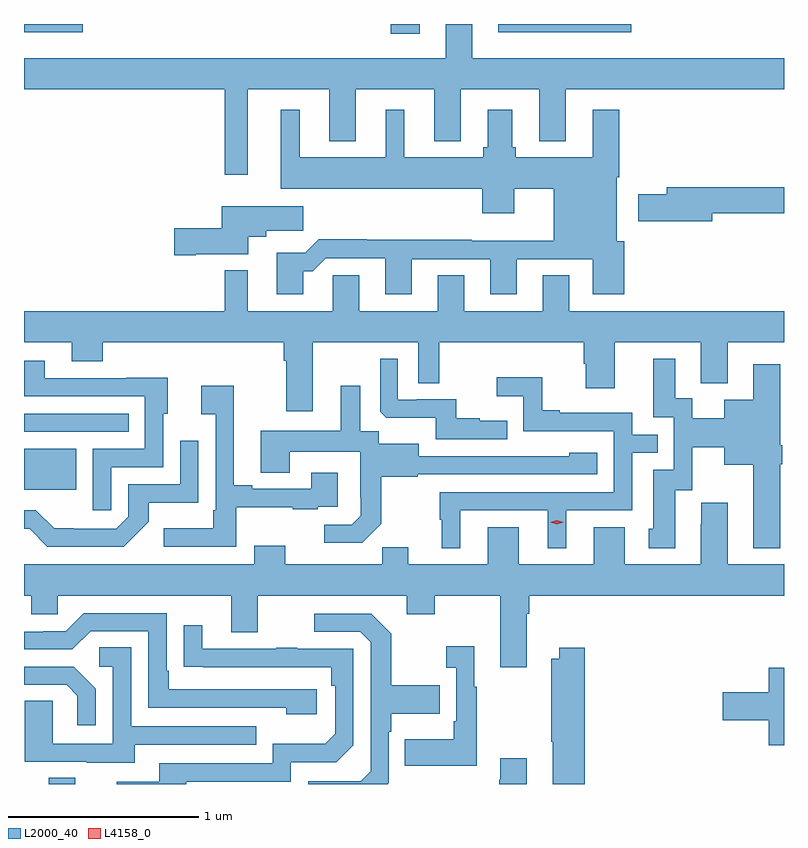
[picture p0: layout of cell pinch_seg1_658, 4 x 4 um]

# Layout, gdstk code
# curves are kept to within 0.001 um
import gdstk
lib = gdstk.Library(unit=1e-6, precision=1e-09)
def R(c, l, rs):  # rectangles x0, y0, x1, y1
    for r in rs: c.add(gdstk.rectangle(r[:2], r[2:], *l))
def P(c, l, *ps):  # polygons
    for p in ps: c.add(gdstk.Polygon(p, *l))
L2000_40 = (2000, 40)
L4158_0 = (4158, 0)

pinch_seg1_658 = lib.new_cell('pinch_seg1_658')
R(pinch_seg1_658, L2000_40, [(862.421,574.716,862.561,574.748), (862.29,576.266,862.564,576.481), (862.29,576.57,862.841,576.666), (864.221,578.664,864.373,578.716), (862.29,578.672,862.6,578.716), (864.785,578.672,865.486,578.716)])
P(pinch_seg1_658, L2000_40, [(863.467,578.372),(863.897,578.372),(863.897,578.099),(864.037,578.099),(864.037,578.372),(864.449,578.372),(864.449,578.099),(864.589,578.099),(864.589,578.372),(865.001,578.372),(865.001,578.099),(865.141,578.099),(865.141,578.372),(866.29,578.372),(866.29,578.536),(864.649,578.536),(864.649,578.716),(864.509,578.716),(864.509,578.536),(862.29,578.536),(862.29,578.372),(863.346,578.372),(863.346,577.923),(863.467,577.923)],
  [(863.761,577.415),(863.81,577.415),(863.877,577.482),(864.191,577.482),(864.191,577.293),(864.331,577.293),(864.331,577.479),(864.743,577.479),(864.743,577.293),(864.883,577.293),(864.883,577.479),(865.283,577.479),(865.283,577.293),(865.448,577.293),(865.448,577.572),(865.411,577.572),(865.411,577.91),(865.424,577.91),(865.424,578.266),(865.283,578.266),(865.283,578.014),(864.879,578.014),(864.879,578.067),(864.859,578.067),(864.859,578.266),(864.731,578.266),(864.731,578.067),(864.706,578.067),(864.706,578.014),(864.292,578.014),(864.292,578.266),(864.194,578.266),(864.194,578.014),(863.74,578.014),(863.74,578.266),(863.642,578.266),(863.642,577.85),(864.701,577.85),(864.701,577.719),(864.871,577.719),(864.871,577.85),(865.079,577.85),(865.079,577.576),(864.647,577.576),(864.647,577.58),(864.095,577.58),(864.095,577.583),(863.84,577.583),(863.77,577.513),(863.621,577.513),(863.621,577.293),(863.761,577.293)],
  [(865.912,577.72),(866.29,577.72),(866.29,577.856),(865.673,577.856),(865.673,577.82),(865.524,577.82),(865.524,577.678),(865.912,577.678)],
  [(863.194,577.505),(863.47,577.505),(863.47,577.595),(863.566,577.595),(863.566,577.627),(863.761,577.627),(863.761,577.756),(863.33,577.756),(863.33,577.64),(863.082,577.64),(863.082,577.498),(863.194,577.498)],
  [(862.29,577.04),(862.541,577.04),(862.541,576.941),(862.705,576.941),(862.705,577.04),(863.657,577.04),(863.657,576.944),(863.669,576.944),(863.669,576.678),(863.809,576.678),(863.809,577.04),(864.366,577.04),(864.366,576.826),(864.475,576.826),(864.475,577.04),(865.235,577.04),(865.235,576.927),(865.247,576.927),(865.247,576.798),(865.399,576.798),(865.399,577.04),(865.853,577.04),(865.853,576.824),(865.993,576.824),(865.993,577.04),(866.29,577.04),(866.29,577.204),(865.159,577.204),(865.159,577.394),(865.019,577.394),(865.019,577.204),(864.607,577.204),(864.607,577.394),(864.467,577.394),(864.467,577.204),(864.055,577.204),(864.055,577.394),(863.916,577.394),(863.916,577.204),(863.467,577.204),(863.467,577.42),(863.346,577.42),(863.346,577.204),(862.29,577.204)],
  [(866.269,576.399),(866.282,576.399),(866.282,576.499),(866.269,576.499),(866.269,576.925),(866.129,576.925),(866.129,576.739),(865.976,576.739),(865.976,576.64),(865.807,576.64),(865.807,576.746),(865.717,576.746),(865.717,576.955),(865.601,576.955),(865.601,576.645),(865.71,576.645),(865.71,576.369),(865.601,576.369),(865.601,576.06),(865.577,576.06),(865.577,575.958),(865.717,575.958),(865.717,576.261),(865.806,576.261),(865.806,576.488),(865.976,576.488),(865.976,576.395),(866.129,576.395),(866.129,575.957),(866.269,575.957)],
  [(864.833,576.628),(864.689,576.628),(864.689,576.64),(864.566,576.64),(864.566,576.741),(864.358,576.741),(864.358,576.738),(864.258,576.738),(864.258,576.955),(864.165,576.955),(864.165,576.675),(864.197,576.644),(864.456,576.644),(864.456,576.531),(864.833,576.531)],
  [(862.749,576.384),(863.022,576.384),(863.022,576.666),(863.047,576.666),(863.047,576.854),(862.829,576.854),(862.829,576.852),(862.399,576.852),(862.399,576.943),(862.29,576.943),(862.29,576.756),(862.926,576.756),(862.926,576.48),(862.653,576.48),(862.653,576.156),(862.749,576.156)],
  [(864.586,576.156),(865.046,576.156),(865.046,575.957),(865.144,575.957),(865.144,576.156),(865.491,576.156),(865.491,576.459),(865.625,576.459),(865.625,576.555),(865.491,576.555),(865.491,576.669),(865.111,576.669),(865.111,576.682),(865.017,576.682),(865.017,576.857),(864.777,576.857),(864.777,576.758),(864.918,576.758),(864.918,576.573),(865.395,576.573),(865.395,576.252),(864.477,576.252),(864.477,576.108),(864.488,576.108),(864.488,575.957),(864.586,575.957)],
  [(864.171,576.087),(864.171,576.333),(864.363,576.333),(864.363,576.345),(865.306,576.345),(865.306,576.46),(865.161,576.46),(865.161,576.442),(864.367,576.441),(864.367,576.508),(864.156,576.508),(864.156,576.572),(864.061,576.572),(864.061,576.811),(863.957,576.811),(863.957,576.574),(863.537,576.574),(863.537,576.355),(863.689,576.355),(863.689,576.464),(864.06,576.464),(864.06,576.223),(864.062,576.223),(864.062,576.128),(864.015,576.081),(863.871,576.081),(863.871,575.987),(864.071,575.987)],
  [(863.407,576.173),(863.705,576.173),(863.705,576.162),(863.837,576.162),(863.837,576.174),(863.941,576.174),(863.941,576.355),(863.801,576.355),(863.801,576.27),(863.491,576.27),(863.491,576.289),(863.395,576.289),(863.395,576.811),(863.223,576.811),(863.223,576.662),(863.298,576.662),(863.298,576.157),(863.286,576.157),(863.286,576.061),(863.025,576.061),(863.025,575.964),(863.407,575.964)],
  [(862.947,576.095),(862.947,576.197),(863.208,576.197),(863.208,576.523),(863.112,576.523),(863.112,576.294),(862.839,576.294),(862.839,576.123),(862.776,576.06),(862.552,576.06),(862.552,576.062),(862.448,576.062),(862.353,576.156),(862.29,576.156),(862.29,576.059),(862.319,576.059),(862.413,575.964),(862.816,575.964)],
  [(864.937,575.612),(864.95,575.612),(864.95,575.708),(866.29,575.708),(866.29,575.872),(865.993,575.872),(865.993,576.196),(865.854,576.196),(865.854,576.083),(865.853,576.083),(865.853,575.872),(865.453,575.872),(865.453,576.067),(865.289,576.067),(865.289,575.872),(864.895,575.872),(864.895,576.067),(864.731,576.067),(864.731,575.872),(864.313,575.872),(864.313,575.963),(864.175,575.963),(864.175,575.872),(863.665,575.872),(863.665,575.971),(863.501,575.971),(863.501,575.872),(862.29,575.872),(862.29,575.708),(862.329,575.708),(862.329,575.61),(862.467,575.61),(862.467,575.708),(863.381,575.708),(863.381,575.514),(863.521,575.514),(863.521,575.708),(864.305,575.708),(864.305,575.609),(864.453,575.609),(864.453,575.708),(864.797,575.708),(864.797,575.331),(864.937,575.331)],
  [(863.83,575.214),(863.053,575.214),(863.053,575.311),(863.04,575.311),(863.04,575.616),(862.605,575.616),(862.509,575.52),(862.391,575.52),(862.391,575.517),(862.29,575.517),(862.29,575.424),(862.545,575.424),(862.641,575.52),(862.944,575.52),(862.944,575.118),(863.669,575.118),(863.669,575.084),(863.83,575.084)],
  [(864.21,574.722),(864.21,574.991),(864.223,574.991),(864.223,575.087),(864.479,575.087),(864.479,575.235),(864.223,575.235),(864.223,575.507),(864.117,575.613),(863.817,575.613),(863.817,575.517),(864.06,575.517),(864.114,575.463),(864.114,574.782),(864.063,574.731),(863.787,574.731),(863.787,574.716),(864.204,574.716)],
  [(863.143,574.728),(863.694,574.728),(863.694,574.83),(863.934,574.83),(864.024,574.92),(864.024,575.427),(863.729,575.427),(863.729,575.432),(863.617,575.432),(863.617,575.427),(863.227,575.427),(863.227,575.551),(863.131,575.551),(863.131,575.332),(863.908,575.331),(863.908,575.234),(863.928,575.234),(863.928,574.98),(863.875,574.927),(863.598,574.927),(863.598,574.824),(863.003,574.824),(863.003,574.728),(862.779,574.728),(862.779,574.716),(863.143,574.716)],
  [(864.673,575.227),(864.661,575.227),(864.661,575.44),(864.513,575.44),(864.513,575.327),(864.564,575.327),(864.564,575.047),(864.552,575.047),(864.552,574.951),(864.295,574.951),(864.295,574.811),(864.673,574.811)],
  [(862.873,574.923),(863.513,574.923),(863.513,575.019),(862.854,575.019),(862.854,575.435),(862.686,575.435),(862.686,575.334),(862.758,575.334),(862.758,574.929),(862.44,574.929),(862.44,575.153),(862.295,575.153),(862.295,574.833),(862.619,574.833),(862.619,574.829),(862.873,574.829)],
  [(865.241,575.434),(865.106,575.434),(865.106,575.374),(865.066,575.374),(865.066,574.939),(865.073,574.939),(865.073,574.716),(865.241,574.716)],
  [(862.668,575.218),(862.552,575.334),(862.29,575.334),(862.29,575.238),(862.514,575.238),(862.571,575.181),(862.571,575.025),(862.668,575.025)],
  [(866.29,575.329),(866.21,575.329),(866.21,575.198),(865.968,575.198),(865.968,575.051),(866.21,575.051),(866.21,574.919),(866.29,574.919)],
  [(864.937,574.852),(864.797,574.852),(864.797,574.739),(864.79,574.739),(864.79,574.716),(864.937,574.716)])
P(pinch_seg1_658, L4158_0, [(865.095,576.084),(865.059,576.094),(865.059,576.094),(865.059,576.094),(865.095,576.104),(865.131,576.094),(865.131,576.094),(865.131,576.094)])

lib.write_gds('pinch_seg1_658.gds')
